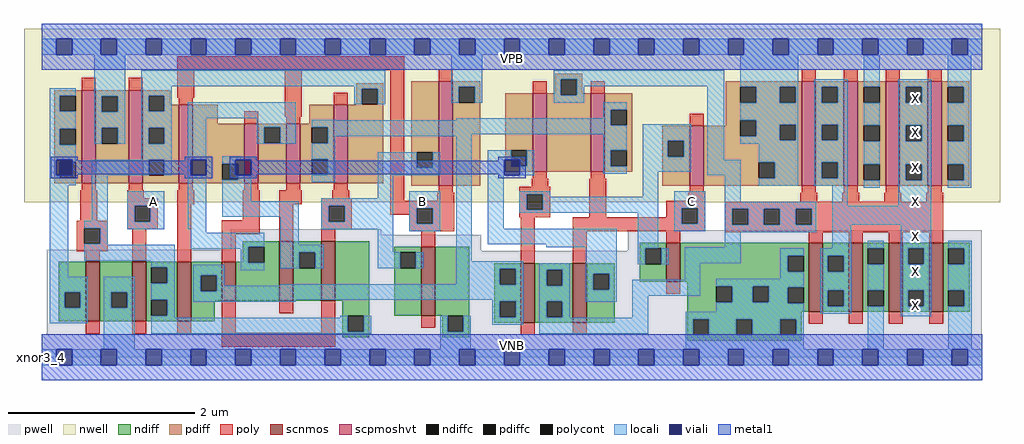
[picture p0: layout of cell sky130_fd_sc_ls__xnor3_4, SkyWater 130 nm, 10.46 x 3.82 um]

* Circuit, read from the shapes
.subckt sky130_fd_sc_ls__xnor3_4 A B C VGND VNB VPB VPWR X
XM1 VGND n1 n2 VNB sky130_fd_pr__nfet_01v8 w=0.64 l=0.15
XM2 n1 A VGND VNB sky130_fd_pr__nfet_01v8 w=0.64 l=0.15
XM3 n3 B n1 VNB sky130_fd_pr__nfet_01v8 w=0.64 l=0.15
XM4 n2 n4 n3 VNB sky130_fd_pr__nfet_01v8 w=0.42 l=0.15
XM5 n5 B n2 VNB sky130_fd_pr__nfet_01v8 w=0.64 l=0.15
XM6 n1 n4 n5 VNB sky130_fd_pr__nfet_01v8 w=0.64 l=0.15
XM7 VGND B n4 VNB sky130_fd_pr__nfet_01v8 w=0.74 l=0.15
XM8 n6 n7 n3 VNB sky130_fd_pr__nfet_01v8 w=0.64 l=0.15
XM9 n5 C n6 VNB sky130_fd_pr__nfet_01v8 w=0.64 l=0.15
XM10 VGND C n7 VNB sky130_fd_pr__nfet_01v8 w=0.42 l=0.15
XM11 X n6 VGND VNB sky130_fd_pr__nfet_01v8 w=0.74 l=0.15 m=4
XM12 VPWR n1 n2 VPB sky130_fd_pr__pfet_01v8_hvt w=1 l=0.15
XM13 n1 A VPWR VPB sky130_fd_pr__pfet_01v8_hvt w=1 l=0.15
XM14 n5 B n1 VPB sky130_fd_pr__pfet_01v8_hvt w=0.84 l=0.15
XM15 n2 n4 n5 VPB sky130_fd_pr__pfet_01v8_hvt w=0.64 l=0.15
XM16 n3 B n2 VPB sky130_fd_pr__pfet_01v8_hvt w=0.64 l=0.15
XM17 n1 n4 n3 VPB sky130_fd_pr__pfet_01v8_hvt w=0.84 l=0.15
XM18 VPWR B n4 VPB sky130_fd_pr__pfet_01v8_hvt w=1.12 l=0.15
XM19 n6 n7 n5 VPB sky130_fd_pr__pfet_01v8_hvt w=0.84 l=0.15
XM20 n3 C n6 VPB sky130_fd_pr__pfet_01v8_hvt w=0.84 l=0.15
XM21 VPWR C n7 VPB sky130_fd_pr__pfet_01v8_hvt w=0.64 l=0.15
XM22 X n6 VPWR VPB sky130_fd_pr__pfet_01v8_hvt w=1.12 l=0.15 m=4
.ends

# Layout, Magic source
magic
tech sky130A
magscale 1 2
<< nwell >>
rect -38 332 2054 704
<< pwell >>
rect 405 263 728 275
rect 405 231 942 263
rect 11 228 942 231
rect 1256 228 2015 272
rect 11 49 2015 228
rect 0 0 2016 49
<< scnmos >>
rect 94 77 124 205
rect 194 77 224 205
rect 291 77 321 205
rect 386 121 416 205
rect 509 121 539 249
rect 599 121 629 249
rect 813 89 843 237
rect 1027 74 1057 202
rect 1138 74 1168 202
rect 1339 162 1369 246
rect 1644 98 1674 246
rect 1730 98 1760 246
rect 1816 98 1846 246
rect 1902 98 1932 246
<< scpmoshvt >>
rect 86 373 116 573
rect 186 373 216 573
rect 294 373 324 541
rect 434 373 464 501
rect 524 373 554 501
rect 626 373 656 541
rect 851 368 881 592
rect 1053 398 1083 566
rect 1177 398 1207 566
rect 1389 368 1419 496
rect 1629 368 1659 592
rect 1719 368 1749 592
rect 1809 368 1839 592
rect 1899 368 1929 592
<< ndiff >>
rect 431 237 509 249
rect 431 205 443 237
rect 37 140 94 205
rect 37 106 49 140
rect 83 106 94 140
rect 37 77 94 106
rect 124 140 194 205
rect 124 106 149 140
rect 183 106 194 140
rect 124 77 194 106
rect 224 193 291 205
rect 224 159 235 193
rect 269 159 291 193
rect 224 123 291 159
rect 224 89 235 123
rect 269 89 291 123
rect 224 77 291 89
rect 321 176 386 205
rect 321 142 341 176
rect 375 142 386 176
rect 321 121 386 142
rect 416 203 443 205
rect 477 203 509 237
rect 416 121 509 203
rect 539 225 599 249
rect 539 191 552 225
rect 586 191 599 225
rect 539 121 599 191
rect 629 121 702 249
rect 321 77 371 121
rect 644 89 702 121
rect 756 225 813 237
rect 756 191 768 225
rect 802 191 813 225
rect 756 89 813 191
rect 843 89 916 237
rect 1282 234 1339 246
rect 644 55 656 89
rect 690 55 702 89
rect 644 43 702 55
rect 858 55 870 89
rect 904 55 916 89
rect 970 190 1027 202
rect 970 156 982 190
rect 1016 156 1027 190
rect 970 120 1027 156
rect 970 86 982 120
rect 1016 86 1027 120
rect 970 74 1027 86
rect 1057 188 1138 202
rect 1057 154 1082 188
rect 1116 154 1138 188
rect 1057 120 1138 154
rect 1057 86 1082 120
rect 1116 86 1138 120
rect 1057 74 1138 86
rect 1168 179 1228 202
rect 1168 145 1182 179
rect 1216 145 1228 179
rect 1282 200 1294 234
rect 1328 200 1339 234
rect 1282 162 1339 200
rect 1369 218 1644 246
rect 1369 184 1599 218
rect 1633 184 1644 218
rect 1369 162 1644 184
rect 1168 74 1228 145
rect 1384 152 1644 162
rect 1384 118 1446 152
rect 1480 118 1524 152
rect 1558 150 1644 152
rect 1558 118 1599 150
rect 1384 116 1599 118
rect 1633 116 1644 150
rect 1384 98 1644 116
rect 1674 218 1730 246
rect 1674 184 1685 218
rect 1719 184 1730 218
rect 1674 144 1730 184
rect 1674 110 1685 144
rect 1719 110 1730 144
rect 1674 98 1730 110
rect 1760 234 1816 246
rect 1760 200 1771 234
rect 1805 200 1816 234
rect 1760 144 1816 200
rect 1760 110 1771 144
rect 1805 110 1816 144
rect 1760 98 1816 110
rect 1846 234 1902 246
rect 1846 200 1857 234
rect 1891 200 1902 234
rect 1846 144 1902 200
rect 1846 110 1857 144
rect 1891 110 1902 144
rect 1846 98 1902 110
rect 1932 234 1989 246
rect 1932 200 1943 234
rect 1977 200 1989 234
rect 1932 144 1989 200
rect 1932 110 1943 144
rect 1977 110 1989 144
rect 1932 98 1989 110
rect 1384 82 1629 98
rect 858 43 916 55
rect 1384 48 1396 82
rect 1430 48 1489 82
rect 1523 48 1583 82
rect 1617 48 1629 82
rect 1384 36 1629 48
<< pdiff >>
rect 27 561 86 573
rect 27 527 39 561
rect 73 527 86 561
rect 27 490 86 527
rect 27 456 39 490
rect 73 456 86 490
rect 27 419 86 456
rect 27 385 39 419
rect 73 385 86 419
rect 27 373 86 385
rect 116 560 186 573
rect 116 526 129 560
rect 163 526 186 560
rect 116 492 186 526
rect 116 458 129 492
rect 163 458 186 492
rect 116 373 186 458
rect 216 561 275 573
rect 216 527 229 561
rect 263 541 275 561
rect 263 527 294 541
rect 216 492 294 527
rect 216 458 229 492
rect 263 458 294 492
rect 216 424 294 458
rect 216 390 229 424
rect 263 390 294 424
rect 216 373 294 390
rect 324 501 377 541
rect 674 576 732 588
rect 674 542 686 576
rect 720 542 732 576
rect 674 541 732 542
rect 573 501 626 541
rect 324 415 434 501
rect 324 381 387 415
rect 421 381 434 415
rect 324 373 434 381
rect 464 493 524 501
rect 464 459 477 493
rect 511 459 524 493
rect 464 373 524 459
rect 554 493 626 501
rect 554 459 579 493
rect 613 459 626 493
rect 554 425 626 459
rect 554 391 579 425
rect 613 391 626 425
rect 554 373 626 391
rect 656 373 732 541
rect 1101 596 1159 608
rect 792 440 851 592
rect 792 406 804 440
rect 838 406 851 440
rect 792 368 851 406
rect 881 580 940 592
rect 881 546 894 580
rect 928 546 940 580
rect 1101 566 1113 596
rect 881 368 940 546
rect 994 444 1053 566
rect 994 410 1006 444
rect 1040 410 1053 444
rect 994 398 1053 410
rect 1083 562 1113 566
rect 1147 566 1159 596
rect 1466 580 1629 592
rect 1147 562 1177 566
rect 1083 398 1177 562
rect 1207 531 1266 566
rect 1207 497 1220 531
rect 1254 497 1266 531
rect 1466 546 1497 580
rect 1531 546 1582 580
rect 1616 546 1629 580
rect 1207 444 1266 497
rect 1466 508 1629 546
rect 1466 496 1497 508
rect 1207 410 1220 444
rect 1254 410 1266 444
rect 1207 398 1266 410
rect 1330 464 1389 496
rect 1330 430 1342 464
rect 1376 430 1389 464
rect 1330 368 1389 430
rect 1419 474 1497 496
rect 1531 499 1629 508
rect 1531 474 1582 499
rect 1419 465 1582 474
rect 1616 465 1629 499
rect 1419 418 1629 465
rect 1419 384 1537 418
rect 1571 384 1629 418
rect 1419 368 1629 384
rect 1659 580 1719 592
rect 1659 546 1672 580
rect 1706 546 1719 580
rect 1659 499 1719 546
rect 1659 465 1672 499
rect 1706 465 1719 499
rect 1659 418 1719 465
rect 1659 384 1672 418
rect 1706 384 1719 418
rect 1659 368 1719 384
rect 1749 580 1809 592
rect 1749 546 1762 580
rect 1796 546 1809 580
rect 1749 497 1809 546
rect 1749 463 1762 497
rect 1796 463 1809 497
rect 1749 414 1809 463
rect 1749 380 1762 414
rect 1796 380 1809 414
rect 1749 368 1809 380
rect 1839 580 1899 592
rect 1839 546 1852 580
rect 1886 546 1899 580
rect 1839 497 1899 546
rect 1839 463 1852 497
rect 1886 463 1899 497
rect 1839 414 1899 463
rect 1839 380 1852 414
rect 1886 380 1899 414
rect 1839 368 1899 380
rect 1929 580 1988 592
rect 1929 546 1942 580
rect 1976 546 1988 580
rect 1929 497 1988 546
rect 1929 463 1942 497
rect 1976 463 1988 497
rect 1929 414 1988 463
rect 1929 380 1942 414
rect 1976 380 1988 414
rect 1929 368 1988 380
<< ndiffc >>
rect 49 106 83 140
rect 149 106 183 140
rect 235 159 269 193
rect 235 89 269 123
rect 341 142 375 176
rect 443 203 477 237
rect 552 191 586 225
rect 768 191 802 225
rect 656 55 690 89
rect 870 55 904 89
rect 982 156 1016 190
rect 982 86 1016 120
rect 1082 154 1116 188
rect 1082 86 1116 120
rect 1182 145 1216 179
rect 1294 200 1328 234
rect 1599 184 1633 218
rect 1446 118 1480 152
rect 1524 118 1558 152
rect 1599 116 1633 150
rect 1685 184 1719 218
rect 1685 110 1719 144
rect 1771 200 1805 234
rect 1771 110 1805 144
rect 1857 200 1891 234
rect 1857 110 1891 144
rect 1943 200 1977 234
rect 1943 110 1977 144
rect 1396 48 1430 82
rect 1489 48 1523 82
rect 1583 48 1617 82
<< pdiffc >>
rect 39 527 73 561
rect 39 456 73 490
rect 39 385 73 419
rect 129 526 163 560
rect 129 458 163 492
rect 229 527 263 561
rect 229 458 263 492
rect 229 390 263 424
rect 686 542 720 576
rect 387 381 421 415
rect 477 459 511 493
rect 579 459 613 493
rect 579 391 613 425
rect 804 406 838 440
rect 894 546 928 580
rect 1006 410 1040 444
rect 1113 562 1147 596
rect 1220 497 1254 531
rect 1497 546 1531 580
rect 1582 546 1616 580
rect 1220 410 1254 444
rect 1342 430 1376 464
rect 1497 474 1531 508
rect 1582 465 1616 499
rect 1537 384 1571 418
rect 1672 546 1706 580
rect 1672 465 1706 499
rect 1672 384 1706 418
rect 1762 546 1796 580
rect 1762 463 1796 497
rect 1762 380 1796 414
rect 1852 546 1886 580
rect 1852 463 1886 497
rect 1852 380 1886 414
rect 1942 546 1976 580
rect 1942 463 1976 497
rect 1942 380 1976 414
<< poly >>
rect 291 615 777 645
rect 86 573 116 599
rect 186 573 216 599
rect 291 556 327 615
rect 294 541 324 556
rect 434 501 464 527
rect 521 516 557 615
rect 626 541 656 567
rect 524 501 554 516
rect 86 358 116 373
rect 186 358 216 373
rect 294 358 324 373
rect 434 358 464 373
rect 524 358 554 373
rect 626 358 656 373
rect 83 293 119 358
rect 183 341 219 358
rect 183 325 249 341
rect 75 277 141 293
rect 75 243 91 277
rect 125 243 141 277
rect 183 291 199 325
rect 233 291 249 325
rect 183 275 249 291
rect 291 328 327 358
rect 75 227 141 243
rect 94 205 124 227
rect 194 205 224 275
rect 291 205 321 328
rect 431 294 467 358
rect 386 264 467 294
rect 509 328 557 358
rect 623 341 659 358
rect 386 205 416 264
rect 509 249 539 328
rect 599 325 665 341
rect 599 291 615 325
rect 649 291 665 325
rect 747 336 777 615
rect 851 592 881 618
rect 1053 566 1083 592
rect 1629 592 1659 618
rect 1719 592 1749 618
rect 1809 592 1839 618
rect 1899 592 1929 618
rect 1177 566 1207 592
rect 1389 496 1419 522
rect 1053 383 1083 398
rect 1177 383 1207 398
rect 851 353 881 368
rect 1050 366 1086 383
rect 848 336 884 353
rect 747 320 884 336
rect 747 306 804 320
rect 599 275 665 291
rect 788 286 804 306
rect 838 286 884 320
rect 1024 350 1090 366
rect 1024 316 1040 350
rect 1074 316 1090 350
rect 1024 300 1090 316
rect 1174 300 1210 383
rect 1389 353 1419 368
rect 1629 353 1659 368
rect 1719 353 1749 368
rect 1809 353 1839 368
rect 1899 353 1929 368
rect 1386 336 1422 353
rect 1339 320 1422 336
rect 1626 334 1662 353
rect 1716 334 1752 353
rect 1806 334 1842 353
rect 1339 300 1372 320
rect 599 249 629 275
rect 788 270 884 286
rect 813 237 843 270
rect 94 51 124 77
rect 194 51 224 77
rect 291 51 321 77
rect 386 53 416 121
rect 509 95 539 121
rect 599 53 629 121
rect 386 23 629 53
rect 1027 202 1057 300
rect 1138 286 1372 300
rect 1406 286 1422 320
rect 1138 270 1422 286
rect 1464 333 1842 334
rect 1896 333 1932 353
rect 1464 318 1932 333
rect 1464 284 1480 318
rect 1514 284 1548 318
rect 1582 284 1616 318
rect 1650 284 1932 318
rect 1138 202 1168 270
rect 1339 246 1369 270
rect 1464 268 1932 284
rect 1644 246 1674 268
rect 1730 246 1760 268
rect 1816 246 1846 268
rect 1902 246 1932 268
rect 813 63 843 89
rect 1339 136 1369 162
rect 1027 48 1057 74
rect 1138 48 1168 74
rect 1644 72 1674 98
rect 1730 72 1760 98
rect 1816 72 1846 98
rect 1902 72 1932 98
<< polycont >>
rect 91 243 125 277
rect 199 291 233 325
rect 615 291 649 325
rect 804 286 838 320
rect 1040 316 1074 350
rect 1372 286 1406 320
rect 1480 284 1514 318
rect 1548 284 1582 318
rect 1616 284 1650 318
<< locali >>
rect 0 649 31 683
rect 65 649 127 683
rect 161 649 223 683
rect 257 649 319 683
rect 353 649 415 683
rect 449 649 511 683
rect 545 649 607 683
rect 641 649 703 683
rect 737 649 799 683
rect 833 649 895 683
rect 929 649 991 683
rect 1025 649 1087 683
rect 1121 649 1183 683
rect 1217 649 1279 683
rect 1313 649 1375 683
rect 1409 649 1471 683
rect 1505 649 1567 683
rect 1601 649 1663 683
rect 1697 649 1759 683
rect 1793 649 1855 683
rect 1889 649 1951 683
rect 1985 649 2016 683
rect 17 561 73 577
rect 17 527 39 561
rect 17 490 73 527
rect 17 456 39 490
rect 113 560 179 649
rect 113 526 129 560
rect 163 526 179 560
rect 113 492 179 526
rect 113 458 129 492
rect 163 458 179 492
rect 213 581 736 615
rect 213 561 279 581
rect 213 527 229 561
rect 263 527 279 561
rect 670 576 736 581
rect 213 492 279 527
rect 213 458 229 492
rect 263 458 279 492
rect 17 424 73 456
rect 213 424 279 458
rect 17 390 31 424
rect 65 419 73 424
rect 17 385 39 390
rect 17 369 73 385
rect 107 390 229 424
rect 263 390 279 424
rect 313 513 545 547
rect 670 542 686 576
rect 720 542 736 576
rect 878 580 944 649
rect 878 546 894 580
rect 928 546 944 580
rect 1097 596 1463 615
rect 1097 562 1113 596
rect 1147 581 1463 596
rect 1147 562 1163 581
rect 1097 546 1163 562
rect 313 424 353 513
rect 461 493 545 513
rect 1204 531 1254 547
rect 1204 512 1220 531
rect 461 459 477 493
rect 511 459 545 493
rect 461 458 545 459
rect 579 508 629 509
rect 888 508 1220 512
rect 579 497 1220 508
rect 579 493 1254 497
rect 613 478 1254 493
rect 613 474 922 478
rect 613 459 629 474
rect 313 390 319 424
rect 17 173 57 369
rect 107 293 141 390
rect 91 277 141 293
rect 125 243 141 277
rect 183 325 263 356
rect 183 291 199 325
rect 233 291 263 325
rect 183 275 263 291
rect 313 275 353 390
rect 387 424 427 431
rect 579 425 629 459
rect 387 415 415 424
rect 421 381 449 390
rect 387 335 449 381
rect 613 391 629 425
rect 579 375 629 391
rect 720 406 804 440
rect 838 406 854 440
rect 720 390 854 406
rect 720 341 754 390
rect 387 301 551 335
rect 91 241 141 243
rect 319 267 353 275
rect 91 207 285 241
rect 319 237 477 267
rect 319 233 443 237
rect 235 193 285 207
rect 427 203 443 233
rect 17 140 99 173
rect 17 106 49 140
rect 83 106 99 140
rect 17 73 99 106
rect 133 140 199 173
rect 133 106 149 140
rect 183 106 199 140
rect 133 17 199 106
rect 269 159 285 193
rect 235 123 285 159
rect 269 89 285 123
rect 325 176 391 199
rect 427 187 477 203
rect 511 241 551 301
rect 599 325 754 341
rect 599 291 615 325
rect 649 291 754 325
rect 599 275 754 291
rect 511 225 604 241
rect 511 191 552 225
rect 586 191 604 225
rect 720 225 754 275
rect 788 320 854 356
rect 788 286 804 320
rect 838 286 854 320
rect 788 270 854 286
rect 720 191 768 225
rect 802 191 818 225
rect 888 206 922 474
rect 1204 444 1254 478
rect 956 424 1006 444
rect 956 390 991 424
rect 1040 410 1056 444
rect 1025 390 1056 410
rect 1204 410 1220 444
rect 1204 394 1254 410
rect 1288 464 1392 500
rect 1288 430 1342 464
rect 1376 430 1392 464
rect 1288 398 1392 430
rect 1426 424 1463 581
rect 1497 580 1622 649
rect 1531 546 1582 580
rect 1616 546 1622 580
rect 1497 508 1622 546
rect 1531 499 1622 508
rect 1531 474 1582 499
rect 1497 465 1582 474
rect 1616 465 1622 499
rect 1497 458 1622 465
rect 956 276 990 390
rect 1024 350 1090 356
rect 1024 316 1040 350
rect 1074 344 1090 350
rect 1288 344 1322 398
rect 1426 390 1498 424
rect 1074 316 1322 344
rect 1024 310 1322 316
rect 956 242 1232 276
rect 1081 236 1232 242
rect 888 190 1032 206
rect 325 142 341 176
rect 375 153 391 176
rect 888 157 982 190
rect 511 156 982 157
rect 1016 156 1032 190
rect 511 153 1032 156
rect 375 142 1032 153
rect 325 123 1032 142
rect 325 119 545 123
rect 966 120 1032 123
rect 235 85 285 89
rect 640 85 656 89
rect 235 55 656 85
rect 690 55 706 89
rect 235 51 706 55
rect 854 55 870 89
rect 904 55 920 89
rect 966 86 982 120
rect 1016 86 1032 120
rect 966 70 1032 86
rect 1066 188 1132 202
rect 1066 154 1082 188
rect 1116 154 1132 188
rect 1066 120 1132 154
rect 1066 86 1082 120
rect 1116 86 1132 120
rect 1166 179 1232 236
rect 1278 234 1322 310
rect 1356 320 1422 356
rect 1356 286 1372 320
rect 1406 286 1422 320
rect 1356 270 1422 286
rect 1464 334 1498 390
rect 1537 418 1622 458
rect 1571 384 1622 418
rect 1537 368 1622 384
rect 1656 580 1728 596
rect 1656 546 1672 580
rect 1706 546 1728 580
rect 1656 499 1728 546
rect 1656 465 1672 499
rect 1706 465 1728 499
rect 1656 418 1728 465
rect 1656 384 1672 418
rect 1706 384 1728 418
rect 1656 368 1728 384
rect 1464 318 1660 334
rect 1464 284 1480 318
rect 1514 284 1548 318
rect 1582 284 1616 318
rect 1650 284 1660 318
rect 1464 268 1660 284
rect 1694 325 1728 368
rect 1762 580 1796 649
rect 1762 497 1796 546
rect 1762 414 1796 463
rect 1762 364 1796 380
rect 1836 580 1907 596
rect 1836 546 1852 580
rect 1886 546 1907 580
rect 1836 497 1907 546
rect 1836 463 1852 497
rect 1886 463 1907 497
rect 1836 414 1907 463
rect 1836 380 1852 414
rect 1886 380 1907 414
rect 1836 325 1907 380
rect 1942 580 1992 649
rect 1976 546 1992 580
rect 1942 497 1992 546
rect 1976 463 1992 497
rect 1942 414 1992 463
rect 1976 380 1992 414
rect 1942 364 1992 380
rect 1694 284 1907 325
rect 1464 236 1498 268
rect 1278 200 1294 234
rect 1328 200 1344 234
rect 1378 202 1498 236
rect 1694 234 1735 284
rect 1583 218 1633 234
rect 1166 145 1182 179
rect 1216 145 1232 179
rect 1378 166 1412 202
rect 1583 184 1599 218
rect 1583 168 1633 184
rect 1166 119 1232 145
rect 1266 132 1412 166
rect 1446 152 1633 168
rect 1066 85 1132 86
rect 1266 85 1300 132
rect 1480 118 1524 152
rect 1558 150 1633 152
rect 1558 118 1599 150
rect 1446 116 1599 118
rect 1446 98 1633 116
rect 854 17 920 55
rect 1066 51 1300 85
rect 1380 82 1633 98
rect 1669 218 1735 234
rect 1669 184 1685 218
rect 1719 184 1735 218
rect 1669 144 1735 184
rect 1669 110 1685 144
rect 1719 110 1735 144
rect 1669 94 1735 110
rect 1771 234 1805 250
rect 1771 144 1805 200
rect 1380 48 1396 82
rect 1430 48 1489 82
rect 1523 48 1583 82
rect 1617 48 1633 82
rect 1380 17 1633 48
rect 1771 17 1805 110
rect 1841 234 1907 284
rect 1841 200 1857 234
rect 1891 200 1907 234
rect 1841 144 1907 200
rect 1841 110 1857 144
rect 1891 110 1907 144
rect 1841 88 1907 110
rect 1943 234 1993 250
rect 1977 200 1993 234
rect 1943 144 1993 200
rect 1977 110 1993 144
rect 1943 17 1993 110
rect 0 -17 31 17
rect 65 -17 127 17
rect 161 -17 223 17
rect 257 -17 319 17
rect 353 -17 415 17
rect 449 -17 511 17
rect 545 -17 607 17
rect 641 -17 703 17
rect 737 -17 799 17
rect 833 -17 895 17
rect 929 -17 991 17
rect 1025 -17 1087 17
rect 1121 -17 1183 17
rect 1217 -17 1279 17
rect 1313 -17 1375 17
rect 1409 -17 1471 17
rect 1505 -17 1567 17
rect 1601 -17 1663 17
rect 1697 -17 1759 17
rect 1793 -17 1855 17
rect 1889 -17 1951 17
rect 1985 -17 2016 17
<< viali >>
rect 31 649 65 683
rect 127 649 161 683
rect 223 649 257 683
rect 319 649 353 683
rect 415 649 449 683
rect 511 649 545 683
rect 607 649 641 683
rect 703 649 737 683
rect 799 649 833 683
rect 895 649 929 683
rect 991 649 1025 683
rect 1087 649 1121 683
rect 1183 649 1217 683
rect 1279 649 1313 683
rect 1375 649 1409 683
rect 1471 649 1505 683
rect 1567 649 1601 683
rect 1663 649 1697 683
rect 1759 649 1793 683
rect 1855 649 1889 683
rect 1951 649 1985 683
rect 31 419 65 424
rect 31 390 39 419
rect 39 390 65 419
rect 319 390 353 424
rect 415 415 449 424
rect 415 390 421 415
rect 421 390 449 415
rect 991 410 1006 424
rect 1006 410 1025 424
rect 991 390 1025 410
rect 31 -17 65 17
rect 127 -17 161 17
rect 223 -17 257 17
rect 319 -17 353 17
rect 415 -17 449 17
rect 511 -17 545 17
rect 607 -17 641 17
rect 703 -17 737 17
rect 799 -17 833 17
rect 895 -17 929 17
rect 991 -17 1025 17
rect 1087 -17 1121 17
rect 1183 -17 1217 17
rect 1279 -17 1313 17
rect 1375 -17 1409 17
rect 1471 -17 1505 17
rect 1567 -17 1601 17
rect 1663 -17 1697 17
rect 1759 -17 1793 17
rect 1855 -17 1889 17
rect 1951 -17 1985 17
<< metal1 >>
rect 0 683 2016 715
rect 0 649 31 683
rect 65 649 127 683
rect 161 649 223 683
rect 257 649 319 683
rect 353 649 415 683
rect 449 649 511 683
rect 545 649 607 683
rect 641 649 703 683
rect 737 649 799 683
rect 833 649 895 683
rect 929 649 991 683
rect 1025 649 1087 683
rect 1121 649 1183 683
rect 1217 649 1279 683
rect 1313 649 1375 683
rect 1409 649 1471 683
rect 1505 649 1567 683
rect 1601 649 1663 683
rect 1697 649 1759 683
rect 1793 649 1855 683
rect 1889 649 1951 683
rect 1985 649 2016 683
rect 0 617 2016 649
rect 19 424 77 430
rect 19 390 31 424
rect 65 421 77 424
rect 307 424 365 430
rect 307 421 319 424
rect 65 393 319 421
rect 65 390 77 393
rect 19 384 77 390
rect 307 390 319 393
rect 353 390 365 424
rect 307 384 365 390
rect 403 424 461 430
rect 403 390 415 424
rect 449 421 461 424
rect 979 424 1037 430
rect 979 421 991 424
rect 449 393 991 421
rect 449 390 461 393
rect 403 384 461 390
rect 979 390 991 393
rect 1025 390 1037 424
rect 979 384 1037 390
rect 0 17 2016 49
rect 0 -17 31 17
rect 65 -17 127 17
rect 161 -17 223 17
rect 257 -17 319 17
rect 353 -17 415 17
rect 449 -17 511 17
rect 545 -17 607 17
rect 641 -17 703 17
rect 737 -17 799 17
rect 833 -17 895 17
rect 929 -17 991 17
rect 1025 -17 1087 17
rect 1121 -17 1183 17
rect 1217 -17 1279 17
rect 1313 -17 1375 17
rect 1409 -17 1471 17
rect 1505 -17 1567 17
rect 1601 -17 1663 17
rect 1697 -17 1759 17
rect 1793 -17 1855 17
rect 1889 -17 1951 17
rect 1985 -17 2016 17
rect 0 -49 2016 -17
<< labels >>
rlabel comment s 0 0 0 0 4 xnor3_4
flabel pwell s 0 0 2016 49 0 FreeSans 200 0 0 0 VNB
port 5 nsew ground bidirectional
flabel nwell s 0 617 2016 666 0 FreeSans 200 0 0 0 VPB
port 6 nsew power bidirectional
flabel metal1 s 0 617 2016 666 0 FreeSans 340 0 0 0 VPWR
port 7 nsew power bidirectional abutment
flabel metal1 s 0 0 2016 49 0 FreeSans 340 0 0 0 VGND
port 4 nsew ground bidirectional abutment
flabel locali s 1855 94 1889 128 0 FreeSans 340 0 0 0 X
port 8 nsew signal output
flabel locali s 1855 168 1889 202 0 FreeSans 340 0 0 0 X
port 8 nsew signal output
flabel locali s 1855 242 1889 276 0 FreeSans 340 0 0 0 X
port 8 nsew signal output
flabel locali s 1855 316 1889 350 0 FreeSans 340 0 0 0 X
port 8 nsew signal output
flabel locali s 1855 390 1889 424 0 FreeSans 340 0 0 0 X
port 8 nsew signal output
flabel locali s 1855 464 1889 498 0 FreeSans 340 0 0 0 X
port 8 nsew signal output
flabel locali s 1855 538 1889 572 0 FreeSans 340 0 0 0 X
port 8 nsew signal output
flabel locali s 799 316 833 350 0 FreeSans 340 0 0 0 B
port 2 nsew signal input
flabel locali s 1375 316 1409 350 0 FreeSans 340 0 0 0 C
port 3 nsew signal input
flabel locali s 223 316 257 350 0 FreeSans 340 0 0 0 A
port 1 nsew signal input
<< properties >>
string LEFsite unit
string LEFclass CORE
string FIXED_BBOX 0 0 2016 666
string GDS_FILE $PDKPATH/libs.ref/sky130_fd_sc_ls/gds/sky130_fd_sc_ls.gds
string LEFsymmetry X Y
string GDS_END 942520
string GDS_START 926782
<< end >>
